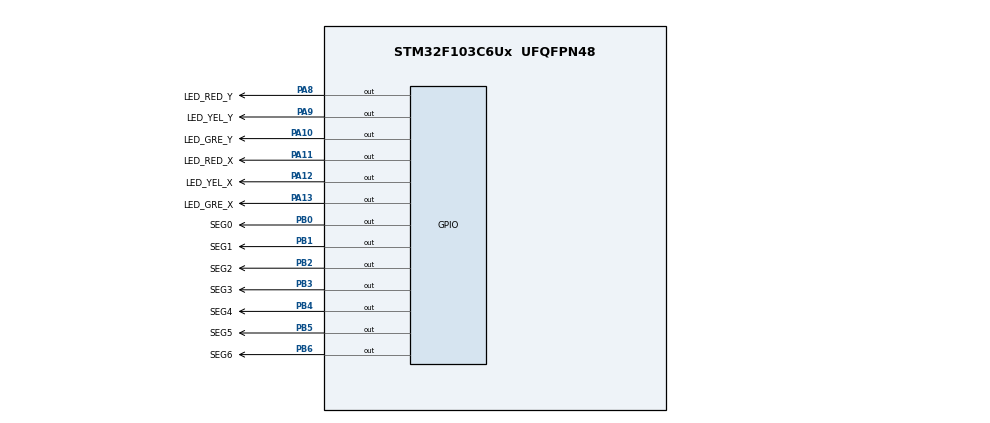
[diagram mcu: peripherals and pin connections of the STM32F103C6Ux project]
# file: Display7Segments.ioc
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Mcu.Family=STM32F1
Mcu.Name=STM32F103C6Ux
Mcu.Package=UFQFPN48
NVIC.PriorityGroup=NVIC_PRIORITYGROUP_4
PA10.GPIO_Label=LED_GRE_Y
PA10.Signal=GPIO_Output
PA11.GPIO_Label=LED_RED_X
PA11.Signal=GPIO_Output
PA12.GPIO_Label=LED_YEL_X
PA12.Signal=GPIO_Output
PA13.GPIO_Label=LED_GRE_X
PA13.Signal=GPIO_Output
PA8.GPIO_Label=LED_RED_Y
PA8.Signal=GPIO_Output
PA9.GPIO_Label=LED_YEL_Y
PA9.Signal=GPIO_Output
PB0.GPIO_Label=SEG0
PB0.Signal=GPIO_Output
PB1.GPIO_Label=SEG1
PB1.Signal=GPIO_Output
PB2.GPIO_Label=SEG2
PB2.Signal=GPIO_Output
PB3.GPIO_Label=SEG3
PB3.Signal=GPIO_Output
PB4.GPIO_Label=SEG4
PB4.Signal=GPIO_Output
PB5.GPIO_Label=SEG5
PB5.Signal=GPIO_Output
PB6.GPIO_Label=SEG6
PB6.Signal=GPIO_Output
ProjectManager.HeapSize=0x200
ProjectManager.StackSize=0x400
ProjectManager.TargetToolchain=STM32CubeIDE
RCC.APB1Freq_Value=8000000
RCC.APB2Freq_Value=8000000
VP_SYS_VS_ND.Mode=No_Debug
board=custom

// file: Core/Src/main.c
/* USER CODE BEGIN Header */
/**
  ******************************************************************************
  * @file           : main.c
  * @brief          : Main program body
  ******************************************************************************
  * @attention
  *
  * <h2><center>&copy; Copyright (c) 2025 STMicroelectronics.
  * All rights reserved.</center></h2>
  *
  * This software component is licensed by ST under BSD 3-Clause license,
  * the "License"; You may not use this file except in compliance with the
  * License. You may obtain a copy of the License at:
  *                        opensource.org/licenses/BSD-3-Clause
  *
  ******************************************************************************
  */
/* USER CODE END Header */
#include "main.h"

void SystemClock_Config(void);
static void MX_GPIO_Init(void);

/* USER CODE BEGIN 0 */
void display7SEG(int num)
{
	switch (num)
	{
		case 0:
			  HAL_GPIO_WritePin(SEG0_GPIO_Port, SEG0_Pin, RESET);
			  HAL_GPIO_WritePin(SEG1_GPIO_Port, SEG1_Pin, RESET);
			  HAL_GPIO_WritePin(SEG2_GPIO_Port, SEG2_Pin, RESET);
			  HAL_GPIO_WritePin(SEG3_GPIO_Port, SEG3_Pin, RESET);
			  HAL_GPIO_WritePin(SEG4_GPIO_Port, SEG4_Pin, RESET);
			  HAL_GPIO_WritePin(SEG5_GPIO_Port, SEG5_Pin, RESET);
			  HAL_GPIO_WritePin(SEG6_GPIO_Port, SEG6_Pin, SET);
			  break;
		case 1:
			  HAL_GPIO_WritePin(SEG0_GPIO_Port, SEG0_Pin, SET);
			  HAL_GPIO_WritePin(SEG1_GPIO_Port, SEG1_Pin, RESET);
			  HAL_GPIO_WritePin(SEG2_GPIO_Port, SEG2_Pin, RESET);
			  HAL_GPIO_WritePin(SEG3_GPIO_Port, SEG3_Pin, SET);
			  HAL_GPIO_WritePin(SEG4_GPIO_Port, SEG4_Pin, SET);
			  HAL_GPIO_WritePin(SEG5_GPIO_Port, SEG5_Pin, SET);
			  HAL_GPIO_WritePin(SEG6_GPIO_Port, SEG6_Pin, SET);
			  break;
		case 2:
			  HAL_GPIO_WritePin(SEG0_GPIO_Port, SEG0_Pin, RESET);
			  HAL_GPIO_WritePin(SEG1_GPIO_Port, SEG1_Pin, RESET);
			  HAL_GPIO_WritePin(SEG2_GPIO_Port, SEG2_Pin, SET);
			  HAL_GPIO_WritePin(SEG3_GPIO_Port, SEG3_Pin, RESET);
			  HAL_GPIO_WritePin(SEG4_GPIO_Port, SEG4_Pin, RESET);
			  HAL_GPIO_WritePin(SEG5_GPIO_Port, SEG5_Pin, SET);
			  HAL_GPIO_WritePin(SEG6_GPIO_Port, SEG6_Pin, RESET);
			  break;
		case 3:
			  HAL_GPIO_WritePin(SEG0_GPIO_Port, SEG0_Pin, RESET);
			  HAL_GPIO_WritePin(SEG1_GPIO_Port, SEG1_Pin, RESET);
			  HAL_GPIO_WritePin(SEG2_GPIO_Port, SEG2_Pin, RESET);
			  HAL_GPIO_WritePin(SEG3_GPIO_Port, SEG3_Pin, RESET);
			  HAL_GPIO_WritePin(SEG4_GPIO_Port, SEG4_Pin, SET);
			  HAL_GPIO_WritePin(SEG5_GPIO_Port, SEG5_Pin, SET);
			  HAL_GPIO_WritePin(SEG6_GPIO_Port, SEG6_Pin, RESET);
			  break;
		case 4:
			  HAL_GPIO_WritePin(SEG0_GPIO_Port, SEG0_Pin, SET);
			  HAL_GPIO_WritePin(SEG1_GPIO_Port, SEG1_Pin, RESET);
			  HAL_GPIO_WritePin(SEG2_GPIO_Port, SEG2_Pin, RESET);
			  HAL_GPIO_WritePin(SEG3_GPIO_Port, SEG3_Pin, SET);
			  HAL_GPIO_WritePin(SEG4_GPIO_Port, SEG4_Pin, SET);
			  HAL_GPIO_WritePin(SEG5_GPIO_Port, SEG5_Pin, RESET);
			  HAL_GPIO_WritePin(SEG6_GPIO_Port, SEG6_Pin, RESET);
			  break;
		case 5:
			  HAL_GPIO_WritePin(SEG0_GPIO_Port, SEG0_Pin, RESET);
			  HAL_GPIO_WritePin(SEG1_GPIO_Port, SEG1_Pin, SET);
			  HAL_GPIO_WritePin(SEG2_GPIO_Port, SEG2_Pin, RESET);
			  HAL_GPIO_WritePin(SEG3_GPIO_Port, SEG3_Pin, RESET);
			  HAL_GPIO_WritePin(SEG4_GPIO_Port, SEG4_Pin, SET);
			  HAL_GPIO_WritePin(SEG5_GPIO_Port, SEG5_Pin, RESET);
			  HAL_GPIO_WritePin(SEG6_GPIO_Port, SEG6_Pin, RESET);
			  break;
		case 6:
			  HAL_GPIO_WritePin(SEG0_GPIO_Port, SEG0_Pin, RESET);
			  HAL_GPIO_WritePin(SEG1_GPIO_Port, SEG1_Pin, SET);
			  HAL_GPIO_WritePin(SEG2_GPIO_Port, SEG2_Pin, RESET);
			  HAL_GPIO_WritePin(SEG3_GPIO_Port, SEG3_Pin, RESET);
			  HAL_GPIO_WritePin(SEG4_GPIO_Port, SEG4_Pin, RESET);
			  HAL_GPIO_WritePin(SEG5_GPIO_Port, SEG5_Pin, RESET);
			  HAL_GPIO_WritePin(SEG6_GPIO_Port, SEG6_Pin, RESET);
			  break;
		case 7:
			  HAL_GPIO_WritePin(SEG0_GPIO_Port, SEG0_Pin, RESET);
			  HAL_GPIO_WritePin(SEG1_GPIO_Port, SEG1_Pin, RESET);
			  HAL_GPIO_WritePin(SEG2_GPIO_Port, SEG2_Pin, RESET);
			  HAL_GPIO_WritePin(SEG3_GPIO_Port, SEG3_Pin, SET);
			  HAL_GPIO_WritePin(SEG4_GPIO_Port, SEG4_Pin, SET);
			  HAL_GPIO_WritePin(SEG5_GPIO_Port, SEG5_Pin, SET);
			  HAL_GPIO_WritePin(SEG6_GPIO_Port, SEG6_Pin, SET);
			  break;
		case 8:
			  HAL_GPIO_WritePin(SEG0_GPIO_Port, SEG0_Pin, RESET);
			  HAL_GPIO_WritePin(SEG1_GPIO_Port, SEG1_Pin, RESET);
			  HAL_GPIO_WritePin(SEG2_GPIO_Port, SEG2_Pin, RESET);
			  HAL_GPIO_WritePin(SEG3_GPIO_Port, SEG3_Pin, RESET);
			  HAL_GPIO_WritePin(SEG4_GPIO_Port, SEG4_Pin, RESET);
			  HAL_GPIO_WritePin(SEG5_GPIO_Port, SEG5_Pin, RESET);
			  HAL_GPIO_WritePin(SEG6_GPIO_Port, SEG6_Pin, RESET);
			  break;
		case 9:
			  HAL_GPIO_WritePin(SEG0_GPIO_Port, SEG0_Pin, RESET);
			  HAL_GPIO_WritePin(SEG1_GPIO_Port, SEG1_Pin, RESET);
			  HAL_GPIO_WritePin(SEG2_GPIO_Port, SEG2_Pin, RESET);
			  HAL_GPIO_WritePin(SEG3_GPIO_Port, SEG3_Pin, RESET);
			  HAL_GPIO_WritePin(SEG4_GPIO_Port, SEG4_Pin, SET);
			  HAL_GPIO_WritePin(SEG5_GPIO_Port, SEG5_Pin, RESET);
			  HAL_GPIO_WritePin(SEG6_GPIO_Port, SEG6_Pin, RESET);
			  break;
		default:
				break;
	}

}
/* USER CODE END 0 */

int main(void)
{

  /* MCU Configuration--------------------------------------------------------*/

  /* Reset of all peripherals, Initializes the Flash interface and the Systick. */
  HAL_Init();

  /* Configure the system clock */
  SystemClock_Config();

  /* Initialize all configured peripherals */
  MX_GPIO_Init();
  /* USER CODE BEGIN 2 */
  // int counter = 0;
  int vredTR = 4, vgreTR = 2, vyelTR = 1;
  int hredTR = 4, hgreTR = 2, hyelTR = 1;
  /* USER CODE END 2 */

  /* Infinite loop */
  /* USER CODE BEGIN WHILE */
  while (1)
  {
	  // Ex 4
	  /*if (counter >= 10) counter = 0;
	  display7SEG(counter++);
	  HAL_Delay(1000);*/

	  // Ex 5
	  if (vredTR >= 0)
	  {
		  HAL_GPIO_WritePin(LED_RED_Y_GPIO_Port, LED_RED_Y_Pin, SET);
		  HAL_GPIO_WritePin(LED_YEL_Y_GPIO_Port, LED_YEL_Y_Pin, RESET);
		  HAL_GPIO_WritePin(LED_GRE_Y_GPIO_Port, LED_GRE_Y_Pin, RESET);
		  HAL_GPIO_WritePin(LED_RED_X_GPIO_Port, LED_RED_X_Pin, RESET);
		  HAL_GPIO_WritePin(LED_YEL_X_GPIO_Port, LED_YEL_X_Pin, RESET);
		  HAL_GPIO_WritePin(LED_GRE_X_GPIO_Port, LED_GRE_X_Pin, SET);
		  display7SEG(vredTR--);
		  hgreTR--;
		  if (hgreTR < 0)
		  {
			  hyelTR--;
			  HAL_GPIO_WritePin(LED_RED_X_GPIO_Port, LED_RED_X_Pin, RESET);
			  HAL_GPIO_WritePin(LED_YEL_X_GPIO_Port, LED_YEL_X_Pin, SET);
			  HAL_GPIO_WritePin(LED_GRE_X_GPIO_Port, LED_GRE_X_Pin, RESET);
		  }
	  }
	  else if (vgreTR >= 0)
	  {
		  HAL_GPIO_WritePin(LED_RED_X_GPIO_Port, LED_RED_X_Pin, SET);
		  HAL_GPIO_WritePin(LED_YEL_X_GPIO_Port, LED_YEL_X_Pin, RESET);
		  HAL_GPIO_WritePin(LED_GRE_X_GPIO_Port, LED_GRE_X_Pin, RESET);
		  HAL_GPIO_WritePin(LED_RED_Y_GPIO_Port, LED_RED_Y_Pin, RESET);
		  HAL_GPIO_WritePin(LED_YEL_Y_GPIO_Port, LED_YEL_Y_Pin, RESET);
		  HAL_GPIO_WritePin(LED_GRE_Y_GPIO_Port, LED_GRE_Y_Pin, SET);
		  display7SEG(vgreTR--);
		  hredTR--;
	  } else {
		  HAL_GPIO_WritePin(LED_RED_Y_GPIO_Port, LED_RED_Y_Pin, RESET);
		  HAL_GPIO_WritePin(LED_YEL_Y_GPIO_Port, LED_YEL_Y_Pin, SET);
		  HAL_GPIO_WritePin(LED_GRE_Y_GPIO_Port, LED_GRE_Y_Pin, RESET);
		  display7SEG(vyelTR--);
		  hredTR--;
	  }
	  if (hredTR < 0)
	  {
		  vredTR = 4;
		  vyelTR = 1;
		  vgreTR = 2;
		  hredTR = 4;
		  hyelTR = 1;
		  hgreTR = 2;
	  }
	  HAL_Delay(1000);
    /* USER CODE END WHILE */

  }
}

void SystemClock_Config(void)
{
  RCC_OscInitTypeDef RCC_OscInitStruct = {0};
  RCC_ClkInitTypeDef RCC_ClkInitStruct = {0};

  /** Initializes the RCC Oscillators according to the specified parameters
  * in the RCC_OscInitTypeDef structure.
  */
  RCC_OscInitStruct.OscillatorType = RCC_OSCILLATORTYPE_HSI;
  RCC_OscInitStruct.HSIState = RCC_HSI_ON;
  RCC_OscInitStruct.HSICalibrationValue = RCC_HSICALIBRATION_DEFAULT;
  RCC_OscInitStruct.PLL.PLLState = RCC_PLL_NONE;
  if (HAL_RCC_OscConfig(&RCC_OscInitStruct) != HAL_OK)
  {
    Error_Handler();
  }
  /** Initializes the CPU, AHB and APB buses clocks
  */
  RCC_ClkInitStruct.ClockType = RCC_CLOCKTYPE_HCLK|RCC_CLOCKTYPE_SYSCLK
                              |RCC_CLOCKTYPE_PCLK1|RCC_CLOCKTYPE_PCLK2;
  RCC_ClkInitStruct.SYSCLKSource = RCC_SYSCLKSOURCE_HSI;
  RCC_ClkInitStruct.AHBCLKDivider = RCC_SYSCLK_DIV1;
  RCC_ClkInitStruct.APB1CLKDivider = RCC_HCLK_DIV1;
  RCC_ClkInitStruct.APB2CLKDivider = RCC_HCLK_DIV1;

  if (HAL_RCC_ClockConfig(&RCC_ClkInitStruct, FLASH_LATENCY_0) != HAL_OK)
  {
    Error_Handler();
  }
}

static void MX_GPIO_Init(void)
{
  GPIO_InitTypeDef GPIO_InitStruct = {0};

  /* GPIO Ports Clock Enable */
  __HAL_RCC_GPIOB_CLK_ENABLE();
  __HAL_RCC_GPIOA_CLK_ENABLE();

  /*Configure GPIO pin Output Level */
  HAL_GPIO_WritePin(GPIOB, SEG0_Pin|SEG1_Pin|SEG2_Pin|SEG3_Pin
                          |SEG4_Pin|SEG5_Pin|SEG6_Pin, GPIO_PIN_RESET);

  /*Configure GPIO pin Output Level */
  HAL_GPIO_WritePin(GPIOA, LED_RED_Y_Pin|LED_YEL_Y_Pin|LED_GRE_Y_Pin|LED_RED_X_Pin
                          |LED_YEL_X_Pin|LED_GRE_X_Pin, GPIO_PIN_RESET);

  /*Configure GPIO pins : SEG0_Pin SEG1_Pin SEG2_Pin SEG3_Pin
                           SEG4_Pin SEG5_Pin SEG6_Pin */
  GPIO_InitStruct.Pin = SEG0_Pin|SEG1_Pin|SEG2_Pin|SEG3_Pin
                          |SEG4_Pin|SEG5_Pin|SEG6_Pin;
  GPIO_InitStruct.Mode = GPIO_MODE_OUTPUT_PP;
  GPIO_InitStruct.Pull = GPIO_NOPULL;
  GPIO_InitStruct.Speed = GPIO_SPEED_FREQ_LOW;
  HAL_GPIO_Init(GPIOB, &GPIO_InitStruct);

  /*Configure GPIO pins : LED_RED_Y_Pin LED_YEL_Y_Pin LED_GRE_Y_Pin LED_RED_X_Pin
                           LED_YEL_X_Pin LED_GRE_X_Pin */
  GPIO_InitStruct.Pin = LED_RED_Y_Pin|LED_YEL_Y_Pin|LED_GRE_Y_Pin|LED_RED_X_Pin
                          |LED_YEL_X_Pin|LED_GRE_X_Pin;
  GPIO_InitStruct.Mode = GPIO_MODE_OUTPUT_PP;
  GPIO_InitStruct.Pull = GPIO_NOPULL;
  GPIO_InitStruct.Speed = GPIO_SPEED_FREQ_LOW;
  HAL_GPIO_Init(GPIOA, &GPIO_InitStruct);

}

void Error_Handler(void)
{
  __disable_irq();
  while (1)
  {
  }
}

/************************ (C) COPYRIGHT STMicroelectronics *****END OF FILE****/
